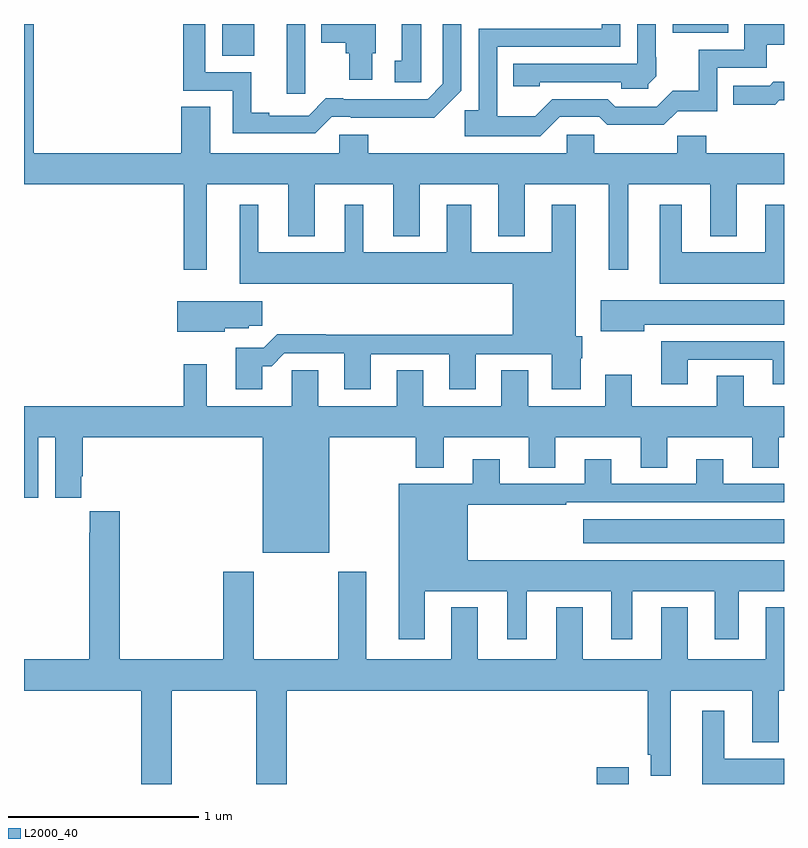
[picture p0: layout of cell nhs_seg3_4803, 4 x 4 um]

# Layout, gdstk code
import gdstk
lib = gdstk.Library(unit=1e-6, precision=1e-09)
def R(c, l, rs):  # rectangles x0, y0, x1, y1
    for r in rs: c.add(gdstk.rectangle(r[:2], r[2:], *l))
def P(c, l, *ps):  # polygons
    for p in ps: c.add(gdstk.Polygon(p, *l))
L2000_40 = (2000, 40)

nhs_seg3_4803 = lib.new_cell('nhs_seg3_4803')
R(nhs_seg3_4803, L2000_40, [(372.014,724.4,372.184,724.489), (371.943,725.666,373,725.794), (370.043,728.234,370.213,728.4), (372.414,728.354,372.707,728.4)])
P(nhs_seg3_4803, L2000_40, [(370.834,728.247),(370.852,728.247),(370.852,728.4),(370.564,728.4),(370.564,728.301),(370.694,728.301),(370.694,728.247),(370.712,728.247),(370.712,728.106),(370.834,728.106)],
  [(370.62,727.911),(370.72,727.911),(370.72,727.907),(371.16,727.907),(371.301,728.048),(371.301,728.4),(371.205,728.4),(371.205,728.085),(371.124,728.004),(370.681,728.004),(370.681,728.009),(370.589,728.009),(370.498,727.918),(370.291,727.918),(370.291,727.933),(370.196,727.933),(370.196,728.145),(369.954,728.145),(369.954,728.4),(369.838,728.4),(369.838,728.049),(370.098,728.049),(370.098,727.824),(370.533,727.824)],
  [(370.481,728.274),(370.479,728.274),(370.479,728.4),(370.382,728.4),(370.382,728.034),(370.481,728.034)],
  [(371.09,728.206),(371.092,728.206),(371.092,728.4),(370.988,728.4),(370.988,728.207),(370.952,728.207),(370.952,728.094),(371.09,728.094)],
  [(371.821,727.911),(372.027,727.911),(372.07,727.869),(372.368,727.869),(372.44,727.94),(372.648,727.94),(372.648,728.169),(372.908,728.169),(372.908,728.291),(373,728.291),(373,728.4),(372.792,728.4),(372.792,728.265),(372.55,728.265),(372.55,728.049),(372.414,728.049),(372.33,727.965),(372.111,727.965),(372.072,728.004),(371.781,728.004),(371.691,727.914),(371.49,727.914),(371.49,728.28),(372.138,728.28),(372.138,728.4),(372.042,728.4),(372.042,728.376),(371.394,728.376),(371.394,727.946),(371.321,727.946),(371.321,727.808),(371.718,727.808)],
  [(369.961,727.556),(370.391,727.556),(370.391,727.283),(370.531,727.283),(370.531,727.556),(370.943,727.556),(370.943,727.283),(371.083,727.283),(371.083,727.556),(371.495,727.556),(371.495,727.283),(371.635,727.283),(371.635,727.556),(372.077,727.556),(372.077,727.107),(372.181,727.107),(372.181,727.556),(372.611,727.556),(372.611,727.283),(372.751,727.283),(372.751,727.556),(373,727.556),(373,727.72),(372.591,727.72),(372.591,727.813),(372.437,727.813),(372.437,727.72),(372.002,727.72),(372.002,727.818),(371.856,727.818),(371.856,727.72),(370.811,727.72),(370.811,727.818),(370.659,727.818),(370.659,727.72),(369.979,727.72),(369.979,727.964),(369.827,727.964),(369.827,727.72),(369.05,727.72),(369.05,728.4),(369,728.4),(369,727.556),(369.84,727.556),(369.84,727.107),(369.961,727.107)],
  [(372.285,728.084),(372.327,728.125),(372.327,728.224),(372.324,728.224),(372.324,728.4),(372.228,728.4),(372.228,728.19),(371.575,728.19),(371.575,728.073),(371.715,728.073),(371.715,728.094),(372.143,728.094),(372.143,728.058),(372.285,728.058)],
  [(372.975,727.998),(373,727.998),(373,728.095),(372.943,728.095),(372.924,728.076),(372.733,728.076),(372.733,727.976),(372.953,727.976)],
  [(373,727.45),(372.902,727.45),(372.902,727.198),(372.463,727.198),(372.463,727.45),(372.347,727.45),(372.347,727.034),(373,727.034)],
  [(370.255,726.599),(370.304,726.599),(370.371,726.666),(370.685,726.666),(370.685,726.477),(370.825,726.477),(370.825,726.663),(371.237,726.663),(371.237,726.477),(371.377,726.477),(371.377,726.663),(371.777,726.663),(371.777,726.477),(371.929,726.477),(371.929,726.64),(371.937,726.64),(371.937,726.756),(371.905,726.756),(371.905,727.45),(371.777,727.45),(371.777,727.198),(371.353,727.198),(371.353,727.45),(371.225,727.45),(371.225,727.198),(370.786,727.198),(370.786,727.45),(370.688,727.45),(370.688,727.198),(370.234,727.198),(370.234,727.45),(370.136,727.45),(370.136,727.034),(371.573,727.034),(371.573,726.764),(370.589,726.764),(370.589,726.767),(370.334,726.767),(370.263,726.696),(370.115,726.696),(370.115,726.477),(370.255,726.477)],
  [(372.265,726.818),(373,726.818),(373,726.946),(372.036,726.946),(372.036,726.782),(372.265,726.782)],
  [(370.056,726.8),(370.182,726.8),(370.182,726.811),(370.255,726.811),(370.255,726.94),(369.806,726.94),(369.806,726.779),(370.056,726.779)],
  [(372.493,726.633),(372.941,726.633),(372.941,726.504),(373,726.504),(373,726.729),(372.353,726.729),(372.353,726.504),(372.493,726.504)],
  [(370.606,726.224),(371.062,726.224),(371.062,726.065),(371.209,726.065),(371.209,726.224),(371.657,726.224),(371.657,726.064),(371.797,726.064),(371.797,726.224),(372.245,726.224),(372.245,726.064),(372.385,726.064),(372.385,726.224),(372.833,726.224),(372.833,726.064),(372.973,726.064),(372.973,726.224),(373,726.224),(373,726.388),(372.787,726.388),(372.787,726.548),(372.647,726.548),(372.647,726.388),(372.199,726.388),(372.199,726.553),(372.059,726.553),(372.059,726.388),(371.653,726.388),(371.653,726.578),(371.513,726.578),(371.513,726.388),(371.101,726.388),(371.101,726.578),(370.961,726.578),(370.961,726.388),(370.549,726.388),(370.549,726.578),(370.41,726.578),(370.41,726.388),(369.961,726.388),(369.961,726.61),(369.84,726.61),(369.84,726.388),(369,726.388),(369,725.907),(369.076,725.907),(369.076,726.224),(369.164,726.224),(369.164,725.907),(369.301,725.907),(369.301,726.019),(369.308,726.019),(369.308,726.224),(370.256,726.224),(370.256,725.618),(370.606,725.618)],
  [(371.11,725.414),(371.543,725.414),(371.543,725.163),(371.647,725.163),(371.647,725.414),(372.092,725.414),(372.092,725.163),(372.202,725.163),(372.202,725.414),(372.635,725.414),(372.635,725.163),(372.763,725.163),(372.763,725.414),(373,725.414),(373,725.578),(371.335,725.578),(371.335,725.871),(371.855,725.871),(371.855,725.883),(373,725.883),(373,725.979),(372.679,725.979),(372.679,726.109),(372.539,726.109),(372.539,725.979),(372.091,725.979),(372.091,726.109),(371.951,726.109),(371.951,725.979),(371.503,725.979),(371.503,726.109),(371.363,726.109),(371.363,725.98),(370.973,725.98),(370.973,725.163),(371.11,725.163)],
  [(369.347,725.836),(369.347,725.723),(369.343,725.723),(369.343,725.056),(369,725.056),(369,724.892),(369.617,724.892),(369.617,724.4),(369.777,724.4),(369.777,724.892),(370.222,724.892),(370.222,724.4),(370.382,724.4),(370.382,724.892),(372.282,724.892),(372.282,724.555),(372.299,724.555),(372.299,724.443),(372.403,724.443),(372.403,724.892),(372.833,724.892),(372.833,724.619),(372.973,724.619),(372.973,724.892),(373,724.892),(373,725.329),(372.905,725.329),(372.905,725.056),(372.493,725.056),(372.493,725.329),(372.353,725.329),(372.353,725.056),(371.941,725.056),(371.941,725.329),(371.801,725.329),(371.801,725.056),(371.389,725.056),(371.389,725.329),(371.249,725.329),(371.249,725.056),(370.801,725.056),(370.801,725.518),(370.654,725.518),(370.654,725.056),(370.209,725.056),(370.209,725.518),(370.049,725.518),(370.049,725.056),(369.503,725.056),(369.503,725.836)],
  [(373,724.534),(372.685,724.534),(372.685,724.786),(372.569,724.786),(372.569,724.4),(373,724.4)])

lib.write_gds('nhs_seg3_4803.gds')
